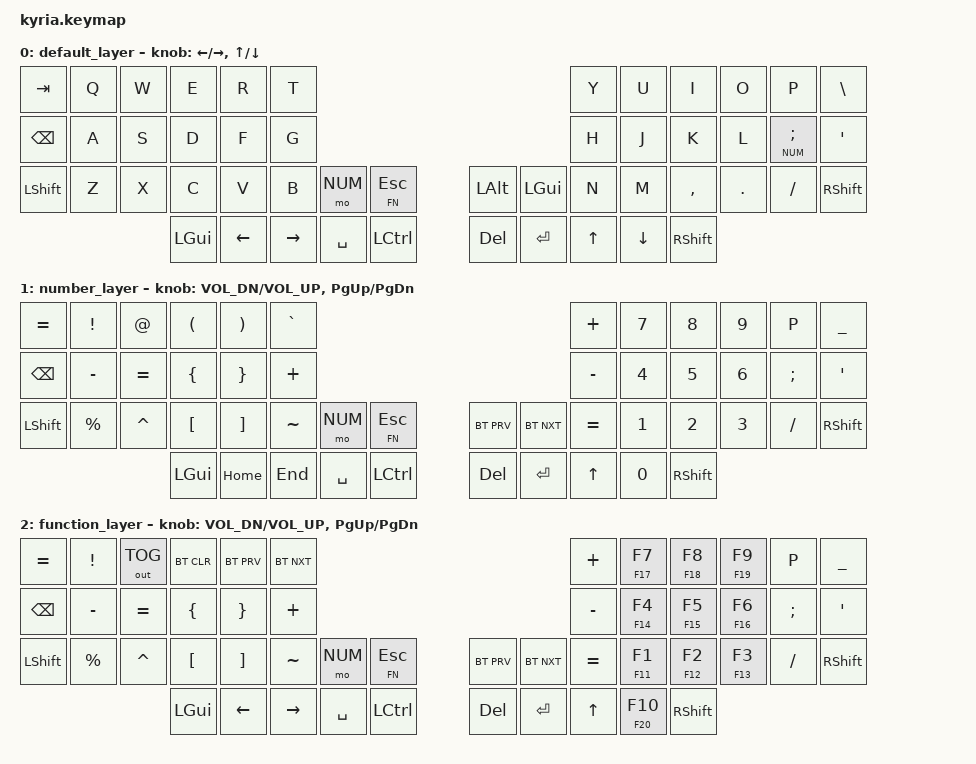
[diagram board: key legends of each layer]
/*
 * Copyright (c) 2020 The ZMK Contributors
 *
 * SPDX-License-Identifier: MIT
 */

#include <behaviors.dtsi>
#include <dt-bindings/zmk/keys.h>
#include <dt-bindings/zmk/bt.h>
#include <dt-bindings/zmk/outputs.h>

&left_encoder { steps = <40> /* Change this to your encoder's number of detents times 2 */; };
&right_encoder { steps = <40> /* Change this to your encoder's number of detents times 2 */; };

#define DEFAULT 0
#define NUM 1
#define FN 2

#define NONE 0

/ {
	keymap {
		compatible = "zmk,keymap";
//		&left_encoder { resolution = <2>; };
//		&right_encoder { resolution = <2>; };

		default_layer {
// ---------------------------------------------------------------------------------------------------------------------------------
// |  ESC  |  Q  |  W  |  E   |  R   |  T   |                                          |  Y   |  U    |  I    |  O   |   P   |   \  |
// |  TAB  |  A  |  S  |  D   |  F   |  G   |                                          |  H   |  J    |  K    |  L   |   ;   |   '  |
// | SHIFT |  Z  |  X  |  C   |  V   |  B   | L SHIFT | L SHIFT |  | L SHIFT | L SHIFT |  N   |  M    |  ,    |  .   |   /   | CTRL |
//                     | GUI  | DEL  | RET  |  SPACE  |   ESC   |  |   RET   |  SPACE  | TAB  | BSPC  | R-ALT |
			bindings = <
	&kp TAB   &kp Q &kp W &kp E &kp R &kp T                                                &kp Y &kp U  &kp I     &kp O   &kp P    &kp BSLH
	&kp BSPC   &kp A &kp S &kp D &kp F &kp G                                                &kp H &kp J  &kp K     &kp L   &lt NUM SEMI &kp SQT
	&kp LSHFT &kp Z &kp X &kp C &kp V &kp B &mo NUM &lt FN ESC        &kp LALT &kp LGUI &kp N &kp M  &kp COMMA &kp DOT &kp FSLH &kp RSHFT
	                 &kp LGUI &kp LEFT &kp RIGHT &kp SPACE &kp LCTRL        &kp DEL  &kp RET  &kp UP &kp DOWN &kp RSHFT
			>;

			sensor-bindings = <&inc_dec_kp LEFT RIGHT &inc_dec_kp UP DOWN>;
		};

		number_layer{

				bindings = <
	&kp EQUAL   &kp EXCL &kp AT &kp LPAR &kp RPAR &kp GRAVE                                                &kp PLUS &kp N7  &kp N8     &kp N9   &kp P    &kp UNDER
	&kp BSPC   &kp MINUS &kp EQUAL &kp LBRC &kp RBRC &kp PLUS                                                &kp MINUS &kp N4  &kp N5     &kp N6   &kp SEMI &kp SQT
	&kp LSHFT &kp PRCNT &kp CARET &kp LBKT &kp RBKT &kp TILDE &mo NUM &lt FN ESC        &bt BT_PRV &bt BT_NXT &kp EQUAL &kp N1  &kp N2 &kp N3 &kp FSLH &kp RSHFT
	                 &kp LGUI &kp HOME &kp END &kp SPACE &kp LCTRL        &kp DEL  &kp RET  &kp UP &kp N0 &kp RSHFT
			>;

			sensor-bindings = <&inc_dec_kp C_VOL_DN C_VOL_UP &inc_dec_kp PG_UP PG_DN>;
		};
	function_layer{

                                bindings = <
        &kp EQUAL   &kp EXCL &out OUT_TOG &bt BT_CLR &bt BT_PRV &bt BT_NXT                                                &kp PLUS &mt F17 F7  &mt F18 F8     &mt F19 F9   &kp P    &kp UNDER
        &kp BSPC   &kp MINUS &kp EQUAL &kp LBRC &kp RBRC &kp PLUS                                                &kp MINUS &mt F14 F4  &mt F15 F5     &mt F16 F6   &kp SEMI &kp SQT
        &kp LSHFT &kp PRCNT &kp CARET &kp LBKT &kp RBKT &kp TILDE &mo NUM &lt FN ESC        &bt BT_PRV &bt BT_NXT &kp EQUAL &mt F11 F1  &mt F12 F2 &mt F13 F3 &kp FSLH &kp RSHFT
                         &kp LGUI &kp LEFT &kp RIGHT &kp SPACE &kp LCTRL        &kp DEL  &kp RET  &kp UP &mt F20 F10 &kp RSHFT
                        >;

                        sensor-bindings = <&inc_dec_kp C_VOL_DN C_VOL_UP &inc_dec_kp PG_UP PG_DN>;
                };



	};
};

&sensors {
    // Change this to your encoder's number of detents.
    // If you have multiple encoders with different detents, see
    // https://zmk.dev/docs/config/encoders#keymap-sensor-config
    triggers-per-rotation = <20>;
};
